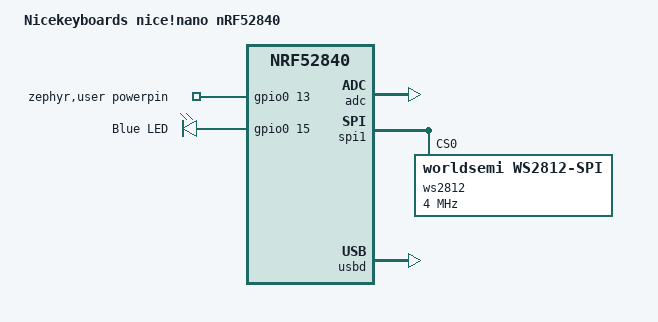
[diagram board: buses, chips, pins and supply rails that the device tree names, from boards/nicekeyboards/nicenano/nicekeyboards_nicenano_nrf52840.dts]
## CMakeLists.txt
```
# SPDX-License-Identifier: Apache-2.0

cmake_minimum_required(VERSION 3.20.0)

find_package(Zephyr REQUIRED HINTS $ENV{ZEPHYR_BASE})
project(zephyr-rgblights-controller)

target_sources(app PRIVATE src/main.c src/ble.c src/usb_uart.c src/button.c)
target_sources(app PRIVATE ${app_sources})
set(CMAKE_CXX_FLAGS "${CMAKE_CXX_FLAGS} -E")
```

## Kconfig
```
# Copyright (c) 2023 Nordic Semiconductor ASA
# SPDX-License-Identifier: Apache-2.0

config APP_USB
        bool "Enable the application uart over USB"
        default n
 
config KERNEL_BIN_NAME
    default "zephyr-rgblights-controller"

menu "USB sample options"
	depends on USB_DEVICE_STACK_NEXT

config SAMPLE_USBD_MANUFACTURER
	string "USB device sample manufacturer string"
	default "Zephyr Project"
	help
	  USB device sample manufacturer string.

config SAMPLE_USBD_PRODUCT
	string "USB device sample product string"
	default "USBD sample"
	help
	  USB device sample product stringa.

config SAMPLE_USBD_PID
	hex "USB device sample Product ID"
	default 0x0001
	help
	  USB device sample Product ID.

config SAMPLE_USBD_SELF_POWERED
	bool "USB device sample Self-powered attribute"
	default y
	help
	  Set the Self-powered attribute in the sample configuration.

config SAMPLE_USBD_REMOTE_WAKEUP
	bool "USB device sample Remote Wakeup attribute"
	help
	  Set the Remote Wakeup attribute in the sample configuration.

config SAMPLE_USBD_MAX_POWER
	int "USB device sample bMaxPower value"
	default 125
	range 0 250
	help
	  bMaxPower value in the sample configuration in 2 mA units.

config SAMPLE_USBD_20_EXTENSION_DESC
	bool "Use default USB 2.0 Extension Descriptor"
	help
	  Set bcdUSB value to 0201 and use default USB 2.0 Extension Descriptor.

endmenu

source "Kconfig.zephyr"
```

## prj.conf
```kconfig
# APP
CONFIG_APP_USB=y

# Concole
CONFIG_STDOUT_CONSOLE=y
CONFIG_CONSOLE=y
CONFIG_UART_CONSOLE=y
CONFIG_CONSOLE_SUBSYS=y

# WS2812B For indicator lights
CONFIG_LED_STRIP=y
CONFIG_LED_STRIP_LOG_LEVEL_DBG=y

# Bluetooth
CONFIG_BT=y
CONFIG_BT_CENTRAL=y
CONFIG_BT_PERIPHERAL=y
CONFIG_BT_MAX_CONN=4
CONFIG_BT_DEVICE_NAME="Led Strip Controller"
CONFIG_BT_GATT_CLIENT=y
CONFIG_BT_LOG_LEVEL_OFF=y
# Allow for large Bluetooth data packets.
CONFIG_BT_L2CAP_TX_MTU=498
CONFIG_BT_BUF_ACL_RX_SIZE=502
CONFIG_BT_BUF_ACL_TX_SIZE=502
CONFIG_BT_CTLR_DATA_LENGTH_MAX=251
# Disable Bluetooth ping support
CONFIG_BT_CTLR_LE_PING=n
# Disable Bluetooth PHY update support
CONFIG_BT_USER_PHY_UPDATE=y
CONFIG_BT_PHY_UPDATE=y
CONFIG_BT_USER_DATA_LEN_UPDATE=y

# Speed up DFU over BT
CONFIG_BT_ATT_PREPARE_COUNT=2
CONFIG_BT_BUF_CMD_TX_SIZE=251
CONFIG_BT_CTLR_PHY_2M=y
CONFIG_BT_CTLR_CONN_RSSI=y
CONFIG_BT_CTLR_PHY_CODED=n
CONFIG_BT_CTLR_TX_PWR_DYNAMIC_CONTROL=y
CONFIG_BT_GATT_ENFORCE_SUBSCRIPTION=n
CONFIG_BT_PERIPHERAL_PREF_TIMEOUT=500

# USB
CONFIG_USB_DEVICE_STACK=y
CONFIG_USB_DEVICE_PRODUCT="Zephyr CDC ACM sample"
CONFIG_USB_DEVICE_PID=0x0001
CONFIG_USB_DEVICE_VID=0x1209
CONFIG_USB_DRIVER_LOG_LEVEL_ERR=y
CONFIG_USB_DEVICE_LOG_LEVEL_ERR=y
CONFIG_SERIAL=y
CONFIG_UART_INTERRUPT_DRIVEN=y
CONFIG_UART_LINE_CTRL=y
CONFIG_USB_DEVICE_INITIALIZE_AT_BOOT=n
# Debug
CONFIG_THREAD_NAME=y
CONFIG_THREAD_RUNTIME_STATS=y
CONFIG_DEBUG_THREAD_INFO=y
CONFIG_SEGGER_DEBUGMON=y
CONFIG_CORTEX_M_DEBUG_MONITOR_HOOK=y
CONFIG_DEBUG_OPTIMIZATIONS=y
# Enable logging
CONFIG_LOG=y
# Disable debug logging
CONFIG_LOG_MAX_LEVEL=4

# Some command handlers require a large stack.
CONFIG_SYSTEM_WORKQUEUE_STACK_SIZE=2304
CONFIG_MAIN_STACK_SIZE=2048

# Required by the `taskstat` command.
CONFIG_THREAD_MONITOR=y

# Support for taskstat command
CONFIG_MCUMGR_GRP_OS_TASKSTAT=y

# Enable statistics and statistic names.
CONFIG_STATS=y
CONFIG_STATS_NAMES=y

# Enable most core commands.
CONFIG_FLASH=y
CONFIG_IMG_MANAGER=y
CONFIG_MCUMGR_GRP_IMG=y
CONFIG_MCUMGR_GRP_OS=y
CONFIG_MCUMGR_GRP_STAT=y
CONFIG_MCUMGR_GRP_FS=y

# Enable the Bluetooth mcumgr transport (unauthenticated).
CONFIG_MCUMGR_TRANSPORT_BT=y
CONFIG_MCUMGR_TRANSPORT_BT_AUTHEN=n
CONFIG_MCUMGR_TRANSPORT_BT_CONN_PARAM_CONTROL=y
CONFIG_MCUMGR_TRANSPORT_NETBUF_COUNT=6

# Enable the Shell mcumgr transport.
# BUG Shell conflicts with Logging on USB CDC/ACM
#CONFIG_BASE64=y
#CONFIG_CRC=y
#CONFIG_SHELL=y
#CONFIG_SHELL_BACKEND_SERIAL=y
#CONFIG_SHELL_LOG_BACKEND=n
#CONFIG_MCUMGR_TRANSPORT_SHELL=y

##########################################
## MCUMGR and DFU related configuration ##
##########################################
# Enable the mcumgr Packet Reassembly feature over Bluetooth and its configuration dependencies.
# MCUmgr buffer size is optimized to fit one SMP packet divided into five Bluetooth Write Commands,
# transmitted with the maximum possible MTU value: 498 bytes.
CONFIG_MCUMGR_TRANSPORT_BT_REASSEMBLY=y
CONFIG_MCUMGR_TRANSPORT_NETBUF_SIZE=2475
CONFIG_MCUMGR_GRP_OS_MCUMGR_PARAMS=y
CONFIG_MCUMGR_TRANSPORT_WORKQUEUE_STACK_SIZE=4608

# Enable the LittleFS file system.
CONFIG_FILE_SYSTEM=y
CONFIG_FILE_SYSTEM_LITTLEFS=y

# Enable file system commands
CONFIG_MCUMGR_GRP_FS=y

# Enable the storage erase command.
CONFIG_MCUMGR_GRP_ZBASIC=y
CONFIG_MCUMGR_GRP_ZBASIC_STORAGE_ERASE=y

# Disable shell commands that are not needed
# BUG Shell conflicts with Logging on USB CDC/ACM
#CONFIG_CLOCK_CONTROL_NRF_SHELL=n
#CONFIG_DEVICE_SHELL=n
#CONFIG_DEVMEM_SHELL=n
#CONFIG_FLASH_SHELL=n

# Enable MCUmgr and dependencies.
CONFIG_NET_BUF=y
CONFIG_ZCBOR=y
CONFIG_MCUMGR=y
CONFIG_STREAM_FLASH=y
CONFIG_FLASH_MAP=y
# Ensure an MCUboot-compatible binary is generated.
CONFIG_BOOTLOADER_MCUBOOT=y
CONFIG_MCUBOOT_UTIL_LOG_LEVEL_WRN=y
CONFIG_MCUBOOT_IMGTOOL_SIGN_VERSION="0.0.0+1"
```

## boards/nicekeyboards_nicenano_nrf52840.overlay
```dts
#define BTN_PATTERN 0
#define BTN_RIGHT   1
#define BTN_LEFT    2
#define BTN_HAZARD  3

/ {
    aliases {
        led0 = &led0;
        sw0 = &button0;
        sw1 = &button1;
        sw2 = &button2;
        sw3 = &button3;
    };

    buttons {
        compatible = "gpio-keys";
        button0: button_0 {
            gpios = <&gpio1 6 (GPIO_PULL_UP | GPIO_ACTIVE_LOW)>;
            label = "Push button switch 0";
            zephyr,code = <BTN_PATTERN>;
        };
        button1: button_1 {
            gpios = <&gpio1 4 (GPIO_PULL_UP | GPIO_ACTIVE_LOW)>;
            label = "Push button switch 1";
            zephyr,code = <BTN_RIGHT>;
        };
        button2: button_2 {
            gpios = <&gpio0 9 (GPIO_PULL_UP | GPIO_ACTIVE_LOW)>;
            label = "Push button switch 2";
            zephyr,code = <BTN_LEFT>;
        };
        button3: button_3 {
            gpios = <&gpio0 10 (GPIO_PULL_UP | GPIO_ACTIVE_LOW)>;
            label = "Push button switch 3";
            zephyr,code = <BTN_HAZARD>;
        };
    };
};
```

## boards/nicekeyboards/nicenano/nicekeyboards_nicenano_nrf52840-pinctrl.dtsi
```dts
/*
* Copyright (c) 2023 Robert Wessels <robertinant@yahoo.com>
* SPDX-License-Identifier: Apache-2.0
*/

&pinctrl {
	uart0_default: uart0_default {
		group1 {
			psels = <NRF_PSEL(UART_RX, 0, 8)>;
			bias-pull-up;
		};
		group2 {
			psels = <NRF_PSEL(UART_TX, 0, 6)>;
		};
	};
	
	uart0_sleep: uart0_sleep {
		group1 {
			psels = <NRF_PSEL(UART_RX, 0, 8)>,
			<NRF_PSEL(UART_TX, 0, 6)>;
			low-power-enable;
		};
	};
	
	spi2_default: spi2_default {
		group1 {
			psels = <NRF_PSEL(SPIM_SCK, 1, 1)>,
			<NRF_PSEL(SPIM_MOSI, 1, 2)>;
		};
	};
	
	spi2_sleep: spi2_sleep {
		group1 {
			psels = <NRF_PSEL(SPIM_SCK, 1, 1)>,
			<NRF_PSEL(SPIM_MOSI, 1, 2)>;
			low-power-enable;
		};
	};
};
```

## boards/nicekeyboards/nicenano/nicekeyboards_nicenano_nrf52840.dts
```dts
/*
* Copyright (c) 2022 Embla Flatlandsmo <embla.flatlandsmo@gmail.com>
*
* SPDX-License-Identifier: Apache-2.0
*/

/dts-v1/;
#include <nordic/nrf52840_qiaa.dtsi>
#include "nicekeyboards_nicenano_nrf52840-pinctrl.dtsi"
#include <zephyr/dt-bindings/input/input-event-codes.h>
#include <zephyr/dt-bindings/led/led.h>
#include <zephyr/dt-bindings/gpio/gpio.h>

/ {
	zephyr,user {
		powerpin-gpios = <&gpio0 13 GPIO_ACTIVE_HIGH>;
	};
	
	model = "Nicekeyboards nice!nano nRF52840";
	compatible = "nicekeyboards,nicenano-nrf52840";
	
	chosen {
		zephyr,console = &cdc_acm_uart0;
		zephyr,shell-uart = &cdc_acm_uart0;
		zephyr,sram = &sram0;
		zephyr,flash = &flash0;
		zephyr,ieee802154 = &ieee802154;
		zephyr,code-partition = &slot0_partition;
	};
	
	leds {
		compatible = "gpio-leds";
		led0: led_0 {
			gpios = <&gpio0 15 GPIO_ACTIVE_HIGH>;
			label = "Blue LED";
		};
		status = "okay";
	};
	
	/* These aliases are provided for compatibility with samples */
	aliases {
		led0 = &led0;
		watchdog0 = &wdt0;
		led-strip = &ws2812;
	};
};

&adc {
	status = "okay";
};

&uicr {
	gpio-as-nreset;
};

&gpiote {
	status = "okay";
};

&gpio0 {
	status = "okay";
};

&gpio1 {
	status = "okay";
};

&spi1 {
	status = "okay";
	pinctrl-0 = <&spi2_default>;
	pinctrl-1 = <&spi2_sleep>;
	pinctrl-names = "default", "sleep";
	ws2812: ws2812@0 {
		compatible = "worldsemi,ws2812-spi";
		reg = <0>;
		spi-max-frequency = <4000000>;
		chain-length = <116>;
		color-mapping = <LED_COLOR_ID_BLUE
		LED_COLOR_ID_GREEN
		LED_COLOR_ID_RED>;
		spi-one-frame = <0x70>;
		spi-zero-frame = <0x40>;
	};
};

&flash0 {
	partitions {
		compatible = "fixed-partitions";
		#address-cells = <1>;
		#size-cells = <1>;
		
		boot_partition: partition@0 {
			label = "mcuboot";
			reg = <0x00000000 0x0000C000>;
		};
		slot0_partition: partition@c000 {
			label = "image-0";
			reg = <0x0000C000 0x00076000>;
		};
		slot1_partition: partition@82000 {
			label = "image-1";
			reg = <0x00082000 0x00076000>;
		};
		
		/*
		* The flash starting at 0x000f8000 and ending at
		* 0x000fffff is reserved for use by the application.
		*/
		
		/*
		* Storage partition will be used by FCB/LittleFS/NVS
		* if enabled.
		*/
		storage_partition: partition@f8000 {
			label = "storage";
			reg = <0x000f8000 0x00008000>;
		};
	};
};

zephyr_udc0: &usbd {
	compatible = "nordic,nrf-usbd";
	status = "okay";
	
	cdc_acm_uart0: cdc_acm_uart0 {
		compatible = "zephyr,cdc-acm-uart";
	};
};
```

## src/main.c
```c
/*
 * Copyright (c) 2019 Robert Wessels
 *
 * SPDX-License-Identifier: Apache-2.0
 */

#include "button.h"
#include <zephyr/kernel.h>
#include <zephyr/logging/log.h>

LOG_MODULE_REGISTER(bike_light, LOG_LEVEL_INF);

#define INDICATOR_LEFT   0U
#define INDICATOR_RIGHT  1U
#define INDICATOR_OFF    2U
#define INDICATOR_HAZARD 3U

extern void rgbled_pattern_next(void);
extern void rgbled_left_right_hazard(uint8_t state);
static char* helper_button_evt_str(enum button_evt evt)
{
    switch (evt)
    {
    case BUTTON_EVT_PRESSED:
        return "Pressed";
    case BUTTON_EVT_RELEASED:
        return "Released";
    default:
        return "Unknown";
    }
}

static void button_event_handler(enum button_evt evt, uint32_t code)
{
    static bool hazard_state = 0;

    LOG_INF("Button event: %s, code: %d\n", helper_button_evt_str(evt), code);

    if (evt == BUTTON_EVT_PRESSED || evt == BUTTON_EVT_RELEASED)
    {
        switch (code)
        {
        case BTN_PATTERN:
            if (evt == BUTTON_EVT_PRESSED)
            {
                rgbled_pattern_next();
            }
            break;
        case BTN_LEFT:
            if (evt == BUTTON_EVT_PRESSED)
            {
                rgbled_left_right_hazard(INDICATOR_LEFT);
            }
            else if (evt == BUTTON_EVT_RELEASED)
            {
                rgbled_left_right_hazard(INDICATOR_OFF);
            }
            break;
        case BTN_RIGHT:
            if (evt == BUTTON_EVT_PRESSED)
            {
                rgbled_left_right_hazard(INDICATOR_RIGHT);
            }
            else if (evt == BUTTON_EVT_RELEASED)
            {
                rgbled_left_right_hazard(INDICATOR_OFF);
            }
            break;
        case BTN_HAZARD:
            if (evt == BUTTON_EVT_PRESSED)
            {
                hazard_state = !hazard_state;
                rgbled_left_right_hazard(hazard_state ? INDICATOR_HAZARD : INDICATOR_OFF);
            }
            break;
        default:
            break;
        }
    }
}

int main(void)
{
    LOG_INF("Main ran successfully");
    buttons_init(button_event_handler);
    return 0;
}
```

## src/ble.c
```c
/*
 * Copyright (c) 2024-2025 Robert Wessels
 *
 * SPDX-License-Identifier: Apache-2.0
 */

#include <errno.h>
#include <stddef.h>
#include <zephyr/kernel.h>
#include <zephyr/types.h>

#include <zephyr/bluetooth/bluetooth.h>
#include <zephyr/bluetooth/conn.h>
#include <zephyr/bluetooth/gatt.h>
#include <zephyr/bluetooth/hci.h>
#include <zephyr/bluetooth/uuid.h>
#include <zephyr/drivers/gpio.h>
#include <zephyr/sys/byteorder.h>

#include <zephyr/logging/log.h>
LOG_MODULE_REGISTER(ble, LOG_LEVEL_DBG);

/* The devicetree node identifier for the "led0" alias. */
#define LED0_NODE DT_ALIAS(led0)
static const struct gpio_dt_spec led = GPIO_DT_SPEC_GET(LED0_NODE, gpios);

#define STACK_SIZE      1024
#define THREAD_PRIORITY 5

/* Use atomic variable, 2 bits for connection and disconnection state */
static ATOMIC_DEFINE(conn_state, 4U);
#define STATE_CONNECTED               1U
#define STATE_DISCONNECTED            2U
#define STATE_PERIPHERAL_CONNECTED    3U
#define STATE_PERIPHERAL_DISCONNECTED 4U

/** @brief RGBLED Service UUID */
#define BT_UUID_RGBLED_CTRL_SERVICE_VAL BT_UUID_128_ENCODE(0x12345678, 0x1234, 0x5678, 0x1234, 0x56789abcdef4)
#define BT_UUID_RGBLED_SERVICE_VAL      BT_UUID_128_ENCODE(0x12345678, 0x1234, 0x5678, 0x1234, 0x56789abcdef0)

// f0debc9a7856 3412 7856 3412 78563412 0106

/** @brief RGBLED Pattern Characteristic UUID */
#define BT_UUID_RGBLED_PATTERN_CHAR_VAL BT_UUID_128_ENCODE(0x12345678, 0x1234, 0x5678, 0x1234, 0x56789abcdef1)

/** @brief RGBLED Pattern Characteristic UUID */
#define BT_UUID_RGBLED_INDICATOR_CHAR_VAL BT_UUID_128_ENCODE(0x12345678, 0x1234, 0x5678, 0x1234, 0x56789abcdef2)

#define BT_UUID_RGBLED_SERVICE        BT_UUID_DECLARE_128(BT_UUID_RGBLED_SERVICE_VAL)
#define BT_UUID_RGBLED_PATTERN_CHAR   BT_UUID_DECLARE_128(BT_UUID_RGBLED_PATTERN_CHAR_VAL)
#define BT_UUID_RGBLED_INDICATOR_CHAR BT_UUID_DECLARE_128(BT_UUID_RGBLED_INDICATOR_CHAR_VAL)

static const struct bt_data ad[] = {
    BT_DATA_BYTES(BT_DATA_FLAGS, (BT_LE_AD_GENERAL | BT_LE_AD_NO_BREDR)),
    BT_DATA_BYTES(BT_DATA_UUID128_ALL, BT_UUID_RGBLED_CTRL_SERVICE_VAL),
};

#if !defined(CONFIG_BT_EXT_ADV)
static const struct bt_data sd[] = {
    BT_DATA_BYTES(BT_DATA_UUID128_ALL, BT_UUID_RGBLED_CTRL_SERVICE_VAL),
    BT_DATA(BT_DATA_NAME_COMPLETE, CONFIG_BT_DEVICE_NAME, sizeof(CONFIG_BT_DEVICE_NAME) - 1),
};
#endif /* !CONFIG_BT_EXT_ADV */

static enum {
    BLE_CENTRAL_DISCONNECTED,
    BLE_PERIPHERAL_DISCONNECTED,
    BLE_START_SCAN,
    BLE_START_ADVERTISING,
} ble_state;

static struct k_work_delayable ble_work;

extern const char* bt_uuid_str(const struct bt_uuid* uuid);
static void write_func(struct bt_conn* conn, uint8_t err, struct bt_gatt_write_params* params);
static void start_scan(void);
static void start_advertising(void);

static struct bt_conn* default_conn;

static struct bt_uuid_128 discover_uuid = BT_UUID_INIT_128(0);
static struct bt_uuid_16 discover_uuid_ccc = BT_UUID_INIT_16(0);
static struct bt_gatt_discover_params discover_params;
static struct bt_gatt_subscribe_params subscribe_params;
uint16_t rgbled_pattern_char_handle;
uint16_t rgbled_indicator_char_handle;

uint64_t total_rx_count; /* This value is exposed to test code */

typedef void (*bt_connected_cb_t)(void);
static bt_connected_cb_t connected_cb;

void rgbled_pattern_next(void)
{
    static uint8_t pattern = 0x0;
    int err;
    uint8_t buf[1];

    if (atomic_test_bit(conn_state, STATE_CONNECTED) && rgbled_pattern_char_handle != 0)
    {
        static struct bt_gatt_write_params write_params;
        buf[0] = pattern;

        write_params.handle = rgbled_pattern_char_handle;
        write_params.offset = 0;
        write_params.data = buf;
        write_params.length = 1;
        write_params.func = write_func;
        LOG_DBG("Writing pattern %d to handle %d", pattern, write_params.handle);
        err = bt_gatt_write(default_conn, &write_params);
        if (err)
        {
            LOG_DBG("Write failed for pattern %x (err %d)", pattern, err);
        }
        else
        {
            LOG_DBG("Write successful");
            pattern++;
            if (pattern > 0x2)
            {
                // Back to first pattern
                pattern = 0x0;
            }
        }
    }
}

void rgbled_left_right_hazard(uint8_t state)
{
    int err;
    uint8_t buf[1];

    if (atomic_test_bit(conn_state, STATE_CONNECTED) && rgbled_indicator_char_handle != 0)
    {
        static struct bt_gatt_write_params write_params;
        buf[0] = state;

        write_params.handle = rgbled_indicator_char_handle;
        write_params.offset = 0;
        write_params.data = buf;
        write_params.length = 1;
        write_params.func = write_func;
        LOG_DBG("Writing left_right %d to handle %d", state, write_params.handle);
        err = bt_gatt_write(default_conn, &write_params);
        if (err)
        {
            LOG_DBG("Write failed for left_right %x (err %d)", state, err);
        }
        else
        {
            LOG_DBG("Write successful");
        }
    }
}

extern void ble_on_connected(void (*connected)(void))
{
    connected_cb = connected;
}

static void ble_timeout(struct k_work* work)
{
    LOG_DBG("BLE timeout");
    switch (ble_state)
    {
    case BLE_PERIPHERAL_DISCONNECTED:
        ble_state = BLE_START_ADVERTISING;
        __fallthrough; // silence gcc warning about missing break
    case BLE_START_ADVERTISING:
        start_advertising();
        break;
    case BLE_CENTRAL_DISCONNECTED:
        ble_state = BLE_START_SCAN;
        __fallthrough;
    case BLE_START_SCAN:
        start_scan();
        break;
    default:
        break;
    }
}

static uint8_t notify_func(
    struct bt_conn* conn,
    struct bt_gatt_subscribe_params* params,
    const void* data,
    uint16_t length)
{
    if (!data)
    {
        LOG_DBG("[UNSUBSCRIBED]");
        params->value_handle = 0U;
        return BT_GATT_ITER_STOP;
    }

    LOG_DBG("[NOTIFICATION] data %p length %u", data, length);

    total_rx_count++;

    return BT_GATT_ITER_CONTINUE;
}

static uint8_t discover_func(
    struct bt_conn* conn,
    const struct bt_gatt_attr* attr,
    struct bt_gatt_discover_params* params)
{
    int err;

    if (!attr)
    {
        LOG_DBG("Discover complete");
        (void)memset(params, 0, sizeof(*params));
        return BT_GATT_ITER_STOP;
    }

    LOG_DBG("[ATTRIBUTE] handle %u", attr->handle);

    if (!bt_uuid_cmp(discover_params.uuid, BT_UUID_RGBLED_SERVICE))
    {
        LOG_DBG("Found primary RGBLED service");
        memcpy(&discover_uuid, BT_UUID_RGBLED_PATTERN_CHAR, sizeof(discover_uuid));
        discover_params.uuid = &discover_uuid.uuid;
        discover_params.start_handle = attr->handle + 1;
        discover_params.type = BT_GATT_DISCOVER_CHARACTERISTIC;

        err = bt_gatt_discover(conn, &discover_params);
        if (err)
        {
            LOG_DBG("Discover failed (err %d)", err);
        }
    }
    else if (!bt_uuid_cmp(discover_params.uuid, BT_UUID_RGBLED_PATTERN_CHAR))
    {
        rgbled_pattern_char_handle = bt_gatt_attr_value_handle(attr);
        LOG_DBG("Found RGBLED pattern characteristic with handle %u", rgbled_pattern_char_handle);

        memcpy(&discover_uuid, BT_UUID_RGBLED_INDICATOR_CHAR, sizeof(discover_uuid));
        discover_params.uuid = &discover_uuid.uuid;
        discover_params.start_handle = attr->handle + 1;
        discover_params.type = BT_GATT_DISCOVER_CHARACTERISTIC;

        err = bt_gatt_discover(conn, &discover_params);
        if (err)
        {
            LOG_DBG("Discover failed (err %d)", err);
        }
    }
    else if (!bt_uuid_cmp(discover_params.uuid, BT_UUID_RGBLED_INDICATOR_CHAR))
    {
        rgbled_indicator_char_handle = bt_gatt_attr_value_handle(attr);
        LOG_DBG("Found RGBLED indicator characteristic with handle %u", rgbled_indicator_char_handle);

        memcpy(&discover_uuid_ccc, BT_UUID_GATT_CCC, sizeof(discover_uuid_ccc));
        discover_params.uuid = &discover_uuid_ccc.uuid;
        discover_params.start_handle = attr->handle + 2;
        discover_params.type = BT_GATT_DISCOVER_DESCRIPTOR;
        subscribe_params.value_handle = bt_gatt_attr_value_handle(attr);

        err = bt_gatt_discover(conn, &discover_params);
        if (err)
        {
            LOG_DBG("Discover failed (err %d)", err);
        }
    }
    else
    {
        LOG_DBG("Found CCC notify descriptor");
        subscribe_params.notify = notify_func;
        subscribe_params.value = BT_GATT_CCC_NOTIFY;
        subscribe_params.ccc_handle = attr->handle;

        err = bt_gatt_subscribe(conn, &subscribe_params);
        if (err && err != -EALREADY)
        {
            LOG_DBG("Subscribe failed (err %d)", err);
        }
        else
        {
            LOG_DBG("[SUBSCRIBED]");
        }

        return BT_GATT_ITER_STOP;
    }

    return BT_GATT_ITER_STOP;
}

static bool eir_found(struct bt_data* data, void* user_data)
{
    bt_addr_le_t* addr = user_data;
    int i;
    char dev[BT_ADDR_LE_STR_LEN];
    struct bt_conn_le_create_param* create_param;
    struct bt_le_conn_param* param;
    int err;

    bt_addr_le_to_str(addr, dev, sizeof(dev));
    LOG_DBG("[AD]: from %s type %d data_len %u", dev, data->type, data->data_len);

    switch (data->type)
    {
    case BT_DATA_UUID128_ALL:

        err = bt_le_scan_stop();
        if (err)
        {
            LOG_DBG("Stop LE scan failed (err %d)", err);
            return true;
        }

        if (data->data_len < 16)
        {
            LOG_DBG("Invalid UUID length");
            return true;
        }

        struct bt_uuid_128 uuid = BT_UUID_INIT_128(0);
        memcpy(uuid.val, data->data, BT_UUID_SIZE_128);

        LOG_DBG("UUID: %s", (char*)bt_uuid_str((struct bt_uuid*)&uuid));

        if (bt_uuid_cmp((struct bt_uuid*)&uuid, BT_UUID_RGBLED_SERVICE))
        {
            LOG_DBG("UUID mismatch");
            return true;
        }

        LOG_DBG("Found RGBLED service UUID");

        char hex_data[data->data_len * 2 + 1];
        for (i = 0; i < data->data_len; i++)
        {
            sprintf(&hex_data[i * 2], "%02x", data->data[i]);
        }
        hex_data[data->data_len * 2] = '\0';
        LOG_DBG("Data: %s", hex_data);

        LOG_DBG("Creating connection with Coded PHY support");
        param = BT_LE_CONN_PARAM_DEFAULT;
        create_param = BT_CONN_LE_CREATE_CONN;
        create_param->options |= BT_CONN_LE_OPT_CODED;
        err = bt_conn_le_create(addr, create_param, param, &default_conn);

        if (err)
        {
            LOG_DBG("Create connection with Coded PHY support failed (err %d)", err);

            LOG_DBG("Creating non-Coded PHY connection");
            create_param->options &= ~BT_CONN_LE_OPT_CODED;
            err = bt_conn_le_create(addr, create_param, param, &default_conn);
            if (err)
            {
                LOG_DBG("Create connection failed (err %d)", err);
                ble_state = BLE_CENTRAL_DISCONNECTED;
                k_work_reschedule(&ble_work, K_NO_WAIT);
                return false;
            }
        }

        return false;
    }

    return true;
}

static void device_found(const bt_addr_le_t* addr, int8_t rssi, uint8_t type, struct net_buf_simple* ad)
{
    char dev[BT_ADDR_LE_STR_LEN];

    bt_addr_le_to_str(addr, dev, sizeof(dev));

    /* Hack for specific device to reduce debug messages */
    if (type == BT_GAP_ADV_TYPE_ADV_IND && !strncmp(dev, "EA:F4:A3:ED:27:1C", 5))
    {
        LOG_DBG("[DEVICE]: %s, AD evt type %u, AD data len %u, RSSI %i", dev, type, ad->len, rssi);

        bt_data_parse(ad, eir_found, (void*)addr);
    }
}

static void start_advertising(void)
{
    int err;

    err = bt_le_adv_start(BT_LE_ADV_CONN_ONE_TIME, ad, ARRAY_SIZE(ad), sd, ARRAY_SIZE(sd));
    if (err)
    {
        LOG_DBG("Advertising failed to start (err %d)", err);
        return;
    }

    LOG_DBG("Advertising successfully started");
}

static void start_scan(void)
{
    int err;

    /* Use active scanning and disable duplicate filtering to handle any
     * devices that might update their advertising data at runtime. */
    struct bt_le_scan_param scan_param = {
        .type = BT_LE_SCAN_TYPE_ACTIVE,
        .options = BT_LE_SCAN_OPT_CODED,
        .interval = BT_GAP_SCAN_FAST_INTERVAL,
        .window = BT_GAP_SCAN_FAST_WINDOW,
    };

    err = bt_le_scan_start(&scan_param, device_found);
    if (err)
    {
        LOG_DBG("Scanning with Coded PHY support failed (err %d)", err);

        LOG_DBG("Scanning without Coded PHY");
        scan_param.options &= ~BT_LE_SCAN_OPT_CODED;
        err = bt_le_scan_start(&scan_param, device_found);
        if (err)
        {
            LOG_DBG("Scanning failed to start (err %d)", err);
            return;
        }
    }

    LOG_DBG("Scanning successfully started");
}

static void connected(struct bt_conn* conn, uint8_t conn_err)
{
    char addr[BT_ADDR_LE_STR_LEN];
    int err;
    struct bt_conn_info info;

    bt_conn_get_info(conn, &info);
    bt_addr_le_to_str(bt_conn_get_dst(conn), addr, sizeof(addr));

    if (conn_err)
    {
        LOG_DBG("Failed to connect to %s (%u)", addr, conn_err);

        switch (info.role)
        {
        case BT_CONN_ROLE_CENTRAL:
            bt_conn_unref(default_conn);
            default_conn = NULL;
            start_scan();
            break;

        case BT_CONN_ROLE_PERIPHERAL:

            break;

        default:
            LOG_DBG("Unknown connection role");
            break;
        }
        return;
    }

    if (info.role == BT_CONN_ROLE_PERIPHERAL)
    {
        /* Nothing to do for now */
        LOG_DBG("Connection type slave");
        return;
    }

    /* Only valid connection left is CENTRAL. If not, reject */
    if (info.role != BT_CONN_ROLE_CENTRAL)
    {
        LOG_DBG("Connection type unknown");
        return;
    }

    // bt_le_adv_stop();
    (void)atomic_set_bit(conn_state, STATE_CONNECTED);
    LOG_INF("Connected: %s", addr);

    total_rx_count = 0U;

    if (conn == default_conn)
    {
        memcpy(&discover_uuid, BT_UUID_RGBLED_SERVICE, sizeof(discover_uuid));
        discover_params.uuid = &discover_uuid.uuid;
        discover_params.func = discover_func;
        discover_params.start_handle = BT_ATT_FIRST_ATTRIBUTE_HANDLE;
        discover_params.end_handle = BT_ATT_LAST_ATTRIBUTE_HANDLE;
        discover_params.type = BT_GATT_DISCOVER_PRIMARY;

        err = bt_gatt_discover(default_conn, &discover_params);
        LOG_DBG("Discovering services");
        if (err)
        {
            LOG_DBG("Discover failed(err %d)", err);
            return;
        }
    }

    /* Turn on connection LED */
    gpio_pin_set_dt(&led, 1);
}

static void disconnected(struct bt_conn* conn, uint8_t reason)
{
    int err;
    struct bt_conn_info info;
    char addr[BT_ADDR_LE_STR_LEN];

    bt_addr_le_to_str(bt_conn_get_dst(conn), addr, sizeof(addr));
    bt_conn_get_info(conn, &info);

    LOG_INF("Disconnected: %s (reason 0x%02x)", addr, reason);

    if (info.role == BT_CONN_ROLE_PERIPHERAL)
    {
        ble_state = BLE_PERIPHERAL_DISCONNECTED;
        k_work_reschedule(&ble_work, K_NO_WAIT);
        return;
    }

    if (info.role != BT_CONN_ROLE_CENTRAL)
    {
        LOG_DBG("Connection type unknown");
        return;
    }

    (void)atomic_set_bit(conn_state, STATE_DISCONNECTED);

    rgbled_pattern_char_handle = 0;

    LOG_INF("Disconnected: %s (reason 0x%02x)", addr, reason);

    if (default_conn != conn)
    {
        return;
    }

    bt_conn_unref(default_conn);
    default_conn = NULL;

    LOG_DBG("Starting scan and advertising");
    start_scan();
    /* Turn off Connection LED */
    gpio_pin_set_dt(&led, 0);
}

BT_CONN_CB_DEFINE(conn_callbacks) = {
    .connected = connected,
    .disconnected = disconnected,
};

static void write_func(struct bt_conn* conn, uint8_t err, struct bt_gatt_write_params* params)
{
    if (err)
    {
        LOG_DBG("[write func] Write failed on handle %d (err %d)", params->handle, err);
    }
    else
    {
        LOG_DBG("[write func] Write successful");
    }
}

static void bt_ready(int err)
{
    if (err)
    {
        LOG_DBG("Bluetooth init failed (err %d)", err);
        return;
    }

    LOG_DBG("Bluetooth initialized");

    start_advertising();
    ble_state = BLE_START_SCAN;
    k_work_reschedule(&ble_work, K_NO_WAIT);
}

void ble_thread(void)
{
    int err;

    if (!gpio_is_ready_dt(&led))
    {
        LOG_DBG("LED device not ready");
        return;
    }

    err = gpio_pin_configure_dt(&led, GPIO_OUTPUT_INACTIVE);
    if (err < 0)
    {
        LOG_DBG("Failed to configure LED pin");
        return;
    }

    k_work_init_delayable(&ble_work, ble_timeout);

    err = bt_enable(bt_ready);

    if (err)
    {
        LOG_DBG("Bluetooth init failed (err %d)", err);
        return;
    }

    while (1)
    {
        k_sleep(K_SECONDS(3));
    }
    return;
}

K_THREAD_DEFINE(ble_thread_id, STACK_SIZE, ble_thread, NULL, NULL, NULL, THREAD_PRIORITY, 0, 0);
```

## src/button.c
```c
#include "button.h"
#include <zephyr/drivers/gpio.h>
#include <zephyr/kernel.h>

#include <zephyr/logging/log.h>
LOG_MODULE_REGISTER(button, LOG_LEVEL_INF);

#pragma GCC push_options
#pragma GCC optimize("O0")

#pragma GCC pop_options

#define MAX_BUTTONS 4

struct button_data
{
    struct gpio_dt_spec spec;
    struct gpio_callback cb_data;
    button_event_handler_t user_cb;
    struct k_work_delayable cooldown_work;
    uint32_t code;
};

static struct button_data buttons[MAX_BUTTONS];

static void cooldown_expired(struct k_work* work)
{
    struct k_work_delayable* dwork = k_work_delayable_from_work(work);
    struct button_data* button = CONTAINER_OF(dwork, struct button_data, cooldown_work);
    int val = gpio_pin_get_dt(&button->spec);
    enum button_evt evt = val ? BUTTON_EVT_PRESSED : BUTTON_EVT_RELEASED;
    LOG_DBG("Button %d %s\n", button->spec.pin, val ? "pressed" : "released");

    if (button->user_cb)
    {
        button->user_cb(evt, button->code);
    }
}

void button_pressed(const struct device* dev, struct gpio_callback* cb, uint32_t pins)
{
    LOG_DBG("Button pressed\n");
    struct button_data* button = CONTAINER_OF(cb, struct button_data, cb_data);
    k_work_reschedule(&button->cooldown_work, K_MSEC(15));
}

int button_init(int index, const struct gpio_dt_spec* spec, uint32_t code, button_event_handler_t handler)
{

    if (index < 0 || index >= MAX_BUTTONS || !handler || !spec)
    {
        return -EINVAL;
    }

    LOG_DBG("Initializing button %d\n", index);

    struct button_data* button = &buttons[index];
    button->spec = *spec;
    button->user_cb = handler;
    button->code = code;

    if (!device_is_ready(button->spec.port))
    {
        return -EIO;
    }

    int err = gpio_pin_configure_dt(&button->spec, GPIO_INPUT);
    if (err)
    {
        return err;
    }

    err = gpio_pin_interrupt_configure_dt(&button->spec, GPIO_INT_EDGE_BOTH);
    if (err)
    {
        return err;
    }

    gpio_init_callback(&button->cb_data, button_pressed, BIT(button->spec.pin));
    err = gpio_add_callback(button->spec.port, &button->cb_data);
    if (err)
    {
        return err;
    }

    k_work_init_delayable(&button->cooldown_work, cooldown_expired);

    return 0;
}

void buttons_init(button_event_handler_t handler)
{
    // Doesn't work for some reason! I nor Copilot can figure out why.
    // struct gpio_dt_spec spec = GPIO_DT_SPEC_GET_OR(DT_ALIAS(sw##i), gpios, { 0 });
    // So just hard code the pins for now
    struct gpio_dt_spec specs[MAX_BUTTONS] = {
        GPIO_DT_SPEC_GET_OR(DT_ALIAS(sw0), gpios, { 0 }),
        GPIO_DT_SPEC_GET_OR(DT_ALIAS(sw1), gpios, { 0 }),
        GPIO_DT_SPEC_GET_OR(DT_ALIAS(sw2), gpios, { 0 }),
        GPIO_DT_SPEC_GET_OR(DT_ALIAS(sw3), gpios, { 0 }),
    };

    // I see to do this in a loop just as the one above doesn't work.
    // TBD: Might be possible to do this with the DT_FOREACH_NODE macro.
    // See foreach macros https://docs.zephyrproject.org/apidoc/latest/group__devicetree-generic-foreach.html
    uint32_t codes[MAX_BUTTONS] = {
        DT_PROP(DT_ALIAS(sw0), zephyr_code),
        DT_PROP(DT_ALIAS(sw1), zephyr_code),
        DT_PROP(DT_ALIAS(sw2), zephyr_code),
        DT_PROP(DT_ALIAS(sw3), zephyr_code),
    };

    for (int i = 0; i < MAX_BUTTONS; i++)
    {
        if (specs[i].port)
        {
            LOG_INF("Initializing button %d on pin %d\n", i, specs[i].pin);
            button_init(i, &specs[i], codes[i], handler);
        }
    }
}
```

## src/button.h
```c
#ifndef BUTTON_H
#define BUTTON_H
#define BTN_PATTERN 0
#define BTN_RIGHT   1
#define BTN_LEFT    2
#define BTN_HAZARD  3

#include <zephyr/drivers/gpio.h>

enum button_evt
{
    BUTTON_EVT_PRESSED,
    BUTTON_EVT_RELEASED,
};

typedef void (*button_event_handler_t)(enum button_evt evt, uint32_t code);

int button_init(int index, const struct gpio_dt_spec* spec, uint32_t code, button_event_handler_t handler);
void buttons_init(button_event_handler_t handler);

#endif // BUTTON_H
```

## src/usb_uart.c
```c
/*
 * Copyright (c) 2019 Intel Corporation
 *
 * SPDX-License-Identifier: Apache-2.0
 */

/**
 * @file
 * @brief Sample echo app for CDC ACM class
 *
 * Sample app for USB CDC ACM class driver. The received data is echoed back
 * to the serial port.
 */

#include <stdio.h>
#include <string.h>
#include <zephyr/device.h>
#include <zephyr/drivers/gpio.h>
#include <zephyr/drivers/led_strip.h>
#include <zephyr/drivers/spi.h>
#include <zephyr/drivers/uart.h>
#include <zephyr/kernel.h>
#include <zephyr/logging/log.h>
#include <zephyr/sys/ring_buffer.h>
#include <zephyr/sys/util.h>
#include <zephyr/usb/usb_device.h>
#include <zephyr/usb/usbd.h>

#define STACK_SIZE      1024
#define THREAD_PRIORITY 5

LOG_MODULE_REGISTER(cdc_acm_echo, LOG_LEVEL_INF);

#define ZEPHYR_USER_NODE DT_PATH(zephyr_user)

#define RING_BUF_SIZE 1024
uint8_t ring_buffer[RING_BUF_SIZE];

struct ring_buf ringbuf;

static bool rx_throttled;

const struct device* const uart_dev = DEVICE_DT_GET_ONE(zephyr_cdc_acm_uart);

void ble_thread(void);

static inline void print_baudrate(const struct device* dev)
{
    uint32_t baudrate;
    int ret;

    ret = uart_line_ctrl_get(dev, UART_LINE_CTRL_BAUD_RATE, &baudrate);
    if (ret)
    {
        LOG_WRN("Failed to get baudrate, ret code %d", ret);
    }
    else
    {
        LOG_INF("Baudrate %u", baudrate);
    }
}

static void interrupt_handler(const struct device* dev, void* user_data)
{
    ARG_UNUSED(user_data);

    while (uart_irq_update(dev) && uart_irq_is_pending(dev))
    {
        if (!rx_throttled && uart_irq_rx_ready(dev))
        {
            int recv_len, rb_len;
            uint8_t buffer[64];
            size_t len = MIN(ring_buf_space_get(&ringbuf), sizeof(buffer));

            if (len == 0)
            {
                /* Throttle because ring buffer is full */
                uart_irq_rx_disable(dev);
                rx_throttled = true;
                continue;
            }

            recv_len = uart_fifo_read(dev, buffer, len);
            if (recv_len < 0)
            {
                LOG_ERR("Failed to read UART FIFO");
                recv_len = 0;
            };

            rb_len = ring_buf_put(&ringbuf, buffer, recv_len);
            if (rb_len < recv_len)
            {
                LOG_ERR("Drop %u bytes", recv_len - rb_len);
            }

            LOG_DBG("tty fifo -> ringbuf %d bytes", rb_len);
            if (rb_len)
            {
                uart_irq_tx_enable(dev);
            }
        }

        if (uart_irq_tx_ready(dev))
        {
            uint8_t buffer[64];
            int rb_len, send_len;

            rb_len = ring_buf_get(&ringbuf, buffer, sizeof(buffer));
            if (!rb_len)
            {
                LOG_DBG("Ring buffer empty, disable TX IRQ");
                uart_irq_tx_disable(dev);
                continue;
            }

            if (rx_throttled)
            {
                uart_irq_rx_enable(dev);
                rx_throttled = false;
            }

            send_len = uart_fifo_fill(dev, buffer, rb_len);
            if (send_len < rb_len)
            {
                LOG_ERR("Drop %d bytes", rb_len - send_len);
            }

            LOG_DBG("ringbuf -> tty fifo %d bytes", send_len);
        }
    }
}

int uart_thread(void)
{
    int ret;

    if (!device_is_ready(uart_dev))
    {
        LOG_ERR("CDC ACM device not ready");
        return 0;
    }

    ret = usb_enable(NULL);

    if (ret != 0)
    {
        LOG_ERR("Failed to enable USB");
        return 0;
    }

    ring_buf_init(&ringbuf, sizeof(ring_buffer), ring_buffer);

    LOG_INF("Wait for DTR");

    while (true)
    {
        uint32_t dtr = 0U;

        uart_line_ctrl_get(uart_dev, UART_LINE_CTRL_DTR, &dtr);
        if (dtr)
        {
            break;
        }
        else
        {
            /* Give CPU resources to low priority threads. */
            k_sleep(K_MSEC(100));
        }
    }

    LOG_INF("DTR set");

    /* They are optional, we use them to test the interrupt endpoint */
    ret = uart_line_ctrl_set(uart_dev, UART_LINE_CTRL_DCD, 1);
    if (ret)
    {
        LOG_WRN("Failed to set DCD, ret code %d", ret);
    }

    ret = uart_line_ctrl_set(uart_dev, UART_LINE_CTRL_DSR, 1);
    if (ret)
    {
        LOG_WRN("Failed to set DSR, ret code %d", ret);
    }

    /* Wait 100ms for the host to do all settings */
    k_msleep(100);

    print_baudrate(uart_dev);

    uart_irq_callback_set(uart_dev, interrupt_handler);

    /* Enable rx interrupts */
    uart_irq_rx_enable(uart_dev);

    return 0;
}

K_THREAD_DEFINE(uart_thread_id, STACK_SIZE, uart_thread, NULL, NULL, NULL, THREAD_PRIORITY, 0, 0);
```
